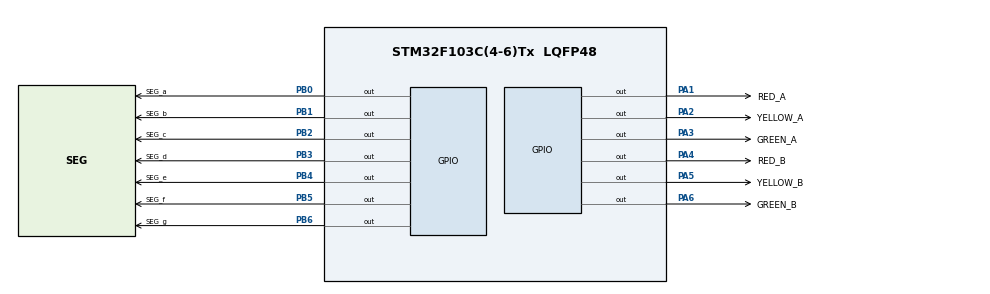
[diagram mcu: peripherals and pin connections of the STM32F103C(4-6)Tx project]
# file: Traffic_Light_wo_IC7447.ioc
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Mcu.Family=STM32F1
Mcu.Name=STM32F103C(4-6)Tx
Mcu.Package=LQFP48
NVIC.PriorityGroup=NVIC_PRIORITYGROUP_4
PA1.GPIO_Label=RED_A
PA1.Signal=GPIO_Output
PA2.GPIO_Label=YELLOW_A
PA2.Signal=GPIO_Output
PA3.GPIO_Label=GREEN_A
PA3.Signal=GPIO_Output
PA4.GPIO_Label=RED_B
PA4.Signal=GPIO_Output
PA5.GPIO_Label=YELLOW_B
PA5.Signal=GPIO_Output
PA6.GPIO_Label=GREEN_B
PA6.Signal=GPIO_Output
PB0.GPIO_Label=SEG_a
PB0.Signal=GPIO_Output
PB1.GPIO_Label=SEG_b
PB1.Signal=GPIO_Output
PB2.GPIO_Label=SEG_c
PB2.Signal=GPIO_Output
PB3.GPIO_Label=SEG_d
PB3.Signal=GPIO_Output
PB4.GPIO_Label=SEG_e
PB4.Signal=GPIO_Output
PB5.GPIO_Label=SEG_f
PB5.Signal=GPIO_Output
PB6.GPIO_Label=SEG_g
PB6.Signal=GPIO_Output
ProjectManager.HeapSize=0x200
ProjectManager.StackSize=0x400
ProjectManager.TargetToolchain=STM32CubeIDE
RCC.APB1Freq_Value=8000000
RCC.APB2Freq_Value=8000000
VP_SYS_VS_ND.Mode=No_Debug
board=custom

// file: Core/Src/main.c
/* USER CODE BEGIN Header */
/**
  ******************************************************************************
  * @file           : main.c
  * @brief          : Main program body
  ******************************************************************************
  * @attention
  *
  * <h2><center>&copy; Copyright (c) 2023 STMicroelectronics.
  * All rights reserved.</center></h2>
  *
  * This software component is licensed by ST under BSD 3-Clause license,
  * the "License"; You may not use this file except in compliance with the
  * License. You may obtain a copy of the License at:
  *                        opensource.org/licenses/BSD-3-Clause
  *
  ******************************************************************************
  */
/* USER CODE END Header */
#include "main.h"

void SystemClock_Config(void);
static void MX_GPIO_Init(void);

int main(void)
{

  /* MCU Configuration--------------------------------------------------------*/

  /* Reset of all peripherals, Initializes the Flash interface and the Systick. */
  HAL_Init();

  /* Configure the system clock */
  SystemClock_Config();

  /* Initialize all configured peripherals */
  MX_GPIO_Init();
  /* USER CODE BEGIN 2 */
  init_traffic_light();
  int counter = 0;
  /* USER CODE END 2 */

  /* Infinite loop */
  /* USER CODE BEGIN WHILE */
  while (1)
  {
	  run_traffic_light(SIDE_A, traffic_color[SIDE_A]);
	  run_traffic_light(SIDE_B, traffic_color[SIDE_B]);
	  switch(traffic_color[SIDE_A]){
	  case RED_LIGHT:
		  if(traffic_timer[SIDE_A] <= 0 && traffic_timer[SIDE_B] <= 0){
			  // SIDE_A: turn to green, SIDE_B: turn to red
			  change_traffic_light(SIDE_A, GREEN_LIGHT);
			  change_traffic_light(SIDE_B, RED_LIGHT);
			  break;
		  }
		  if(traffic_timer[SIDE_B] <= 0){
			  // SIDE_A: remain red, SIDE_B: turn yellow
			  change_traffic_light(SIDE_B, YELLOW_LIGHT);
			  break;
		  }
		  break;
	  case GREEN_LIGHT:
		  if(traffic_timer[SIDE_A] <= 0){
			  // SIDE_A: turn yellow, SIDE_B: remain red
			  change_traffic_light(SIDE_A, YELLOW_LIGHT);
			  break;
		  }
		  break;
	  case YELLOW_LIGHT:
		  if(traffic_timer[SIDE_A] <= 0 && traffic_timer[SIDE_B] <= 0){
			  // SIDE_A: turn to red, SIDE_B: turn to green
			  change_traffic_light(SIDE_A, RED_LIGHT);
			  change_traffic_light(SIDE_B, GREEN_LIGHT);
			  break;
		  }
		  break;
	  default:
		  turn_all_light_off();
		  break;
	  }
	  traffic_timer[SIDE_A]--;
	  traffic_timer[SIDE_B]--;
	  if(counter >= 10){
		  counter = 0;
	  }
	  display7SEG(counter++);
	  HAL_Delay(1000);
    /* USER CODE END WHILE */

  }
}

void SystemClock_Config(void)
{
  RCC_OscInitTypeDef RCC_OscInitStruct = {0};
  RCC_ClkInitTypeDef RCC_ClkInitStruct = {0};

  /** Initializes the RCC Oscillators according to the specified parameters
  * in the RCC_OscInitTypeDef structure.
  */
  RCC_OscInitStruct.OscillatorType = RCC_OSCILLATORTYPE_HSI;
  RCC_OscInitStruct.HSIState = RCC_HSI_ON;
  RCC_OscInitStruct.HSICalibrationValue = RCC_HSICALIBRATION_DEFAULT;
  RCC_OscInitStruct.PLL.PLLState = RCC_PLL_NONE;
  if (HAL_RCC_OscConfig(&RCC_OscInitStruct) != HAL_OK)
  {
    Error_Handler();
  }
  /** Initializes the CPU, AHB and APB buses clocks
  */
  RCC_ClkInitStruct.ClockType = RCC_CLOCKTYPE_HCLK|RCC_CLOCKTYPE_SYSCLK
                              |RCC_CLOCKTYPE_PCLK1|RCC_CLOCKTYPE_PCLK2;
  RCC_ClkInitStruct.SYSCLKSource = RCC_SYSCLKSOURCE_HSI;
  RCC_ClkInitStruct.AHBCLKDivider = RCC_SYSCLK_DIV1;
  RCC_ClkInitStruct.APB1CLKDivider = RCC_HCLK_DIV1;
  RCC_ClkInitStruct.APB2CLKDivider = RCC_HCLK_DIV1;

  if (HAL_RCC_ClockConfig(&RCC_ClkInitStruct, FLASH_LATENCY_0) != HAL_OK)
  {
    Error_Handler();
  }
}

static void MX_GPIO_Init(void)
{
  GPIO_InitTypeDef GPIO_InitStruct = {0};

  /* GPIO Ports Clock Enable */
  __HAL_RCC_GPIOA_CLK_ENABLE();
  __HAL_RCC_GPIOB_CLK_ENABLE();

  /*Configure GPIO pin Output Level */
  HAL_GPIO_WritePin(GPIOA, RED_A_Pin|YELLOW_A_Pin|GREEN_A_Pin|RED_B_Pin
                          |YELLOW_B_Pin|GREEN_B_Pin, GPIO_PIN_RESET);

  /*Configure GPIO pin Output Level */
  HAL_GPIO_WritePin(GPIOB, SEG_a_Pin|SEG_b_Pin|SEG_c_Pin|SEG_d_Pin
                          |SEG_e_Pin|SEG_f_Pin|SEG_g_Pin, GPIO_PIN_RESET);

  /*Configure GPIO pins : RED_A_Pin YELLOW_A_Pin GREEN_A_Pin RED_B_Pin
                           YELLOW_B_Pin GREEN_B_Pin */
  GPIO_InitStruct.Pin = RED_A_Pin|YELLOW_A_Pin|GREEN_A_Pin|RED_B_Pin
                          |YELLOW_B_Pin|GREEN_B_Pin;
  GPIO_InitStruct.Mode = GPIO_MODE_OUTPUT_PP;
  GPIO_InitStruct.Pull = GPIO_NOPULL;
  GPIO_InitStruct.Speed = GPIO_SPEED_FREQ_LOW;
  HAL_GPIO_Init(GPIOA, &GPIO_InitStruct);

  /*Configure GPIO pins : SEG_a_Pin SEG_b_Pin SEG_c_Pin SEG_d_Pin
                           SEG_e_Pin SEG_f_Pin SEG_g_Pin */
  GPIO_InitStruct.Pin = SEG_a_Pin|SEG_b_Pin|SEG_c_Pin|SEG_d_Pin
                          |SEG_e_Pin|SEG_f_Pin|SEG_g_Pin;
  GPIO_InitStruct.Mode = GPIO_MODE_OUTPUT_PP;
  GPIO_InitStruct.Pull = GPIO_NOPULL;
  GPIO_InitStruct.Speed = GPIO_SPEED_FREQ_LOW;
  HAL_GPIO_Init(GPIOB, &GPIO_InitStruct);

}

void Error_Handler(void)
{
  __disable_irq();
  while (1)
  {
  }
}

/************************ (C) COPYRIGHT STMicroelectronics *****END OF FILE****/
